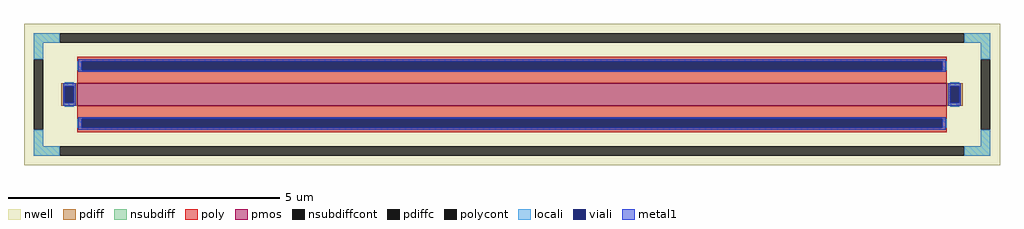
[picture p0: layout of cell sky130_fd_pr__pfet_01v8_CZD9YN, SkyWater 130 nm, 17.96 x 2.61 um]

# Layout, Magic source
magic
tech sky130A
magscale 1 2
<< nwell >>
rect -1796 -261 1796 261
<< pmos >>
rect -1600 -42 1600 42
<< pdiff >>
rect -1658 30 -1600 42
rect -1658 -30 -1646 30
rect -1612 -30 -1600 30
rect -1658 -42 -1600 -30
rect 1600 30 1658 42
rect 1600 -30 1612 30
rect 1646 -30 1658 30
rect 1600 -42 1658 -30
<< pdiffc >>
rect -1646 -30 -1612 30
rect 1612 -30 1646 30
<< nsubdiff >>
rect -1760 191 -1664 225
rect 1664 191 1760 225
rect -1760 129 -1726 191
rect 1726 129 1760 191
rect -1760 -191 -1726 -129
rect 1726 -191 1760 -129
rect -1760 -225 -1664 -191
rect 1664 -225 1760 -191
<< nsubdiffcont >>
rect -1664 191 1664 225
rect -1760 -129 -1726 129
rect 1726 -129 1760 129
rect -1664 -225 1664 -191
<< poly >>
rect -1600 123 1600 139
rect -1600 89 -1584 123
rect 1584 89 1600 123
rect -1600 42 1600 89
rect -1600 -89 1600 -42
rect -1600 -123 -1584 -89
rect 1584 -123 1600 -89
rect -1600 -139 1600 -123
<< polycont >>
rect -1584 89 1584 123
rect -1584 -123 1584 -89
<< locali >>
rect -1760 191 -1664 225
rect 1664 191 1760 225
rect -1760 129 -1726 191
rect 1726 129 1760 191
rect -1600 89 -1584 123
rect 1584 89 1600 123
rect -1646 30 -1612 46
rect -1646 -46 -1612 -30
rect 1612 30 1646 46
rect 1612 -46 1646 -30
rect -1600 -123 -1584 -89
rect 1584 -123 1600 -89
rect -1760 -191 -1726 -129
rect 1726 -191 1760 -129
rect -1760 -225 -1664 -191
rect 1664 -225 1760 -191
<< viali >>
rect -1584 89 1584 123
rect -1646 -30 -1612 30
rect 1612 -30 1646 30
rect -1584 -123 1584 -89
<< metal1 >>
rect -1596 123 1596 129
rect -1596 89 -1584 123
rect 1584 89 1596 123
rect -1596 83 1596 89
rect -1652 30 -1606 42
rect -1652 -30 -1646 30
rect -1612 -30 -1606 30
rect -1652 -42 -1606 -30
rect 1606 30 1652 42
rect 1606 -30 1612 30
rect 1646 -30 1652 30
rect 1606 -42 1652 -30
rect -1596 -89 1596 -83
rect -1596 -123 -1584 -89
rect 1584 -123 1596 -89
rect -1596 -129 1596 -123
<< properties >>
string FIXED_BBOX -1743 -208 1743 208
string gencell sky130_fd_pr__pfet_01v8
string library sky130
string parameters w 0.42 l 16.0 m 1 nf 1 diffcov 100 polycov 100 guard 1 glc 1 grc 1 gtc 1 gbc 1 tbcov 100 rlcov 100 topc 1 botc 1 poverlap 0 doverlap 1 lmin 0.15 wmin 0.42 compatible {sky130_fd_pr__pfet_01v8  sky130_fd_pr__pfet_01v8_lvt sky130_fd_pr__pfet_01v8_hvt  sky130_fd_pr__pfet_g5v0d10v5} full_metal 1 viasrc 100 viadrn 100 viagate 100 viagb 0 viagr 0 viagl 0 viagt 0
<< end >>
